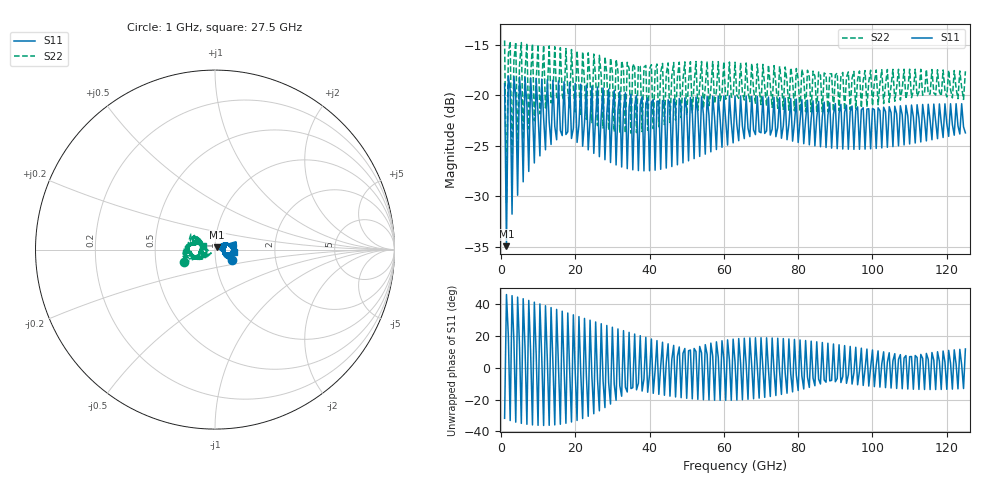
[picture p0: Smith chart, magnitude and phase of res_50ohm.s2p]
! Created with skrf 2.1.0 (http://scikit-rf.org).
# GHz S RI R 50.0
!freq ReS11 ImS11 ReS21 ImS21 ReS12 ImS12 ReS22 ImS22
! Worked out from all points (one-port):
!   249 points, 1 GHz to 125 GHz, reference 50 ohm
!   lowest |S11| = -34.9 dB at 1.5 GHz (marker M1), VSWR 1.04, Z = 51.2 + j1.32 ohm
!   |S11| at or under -10 dB: start of sweep to end of sweep
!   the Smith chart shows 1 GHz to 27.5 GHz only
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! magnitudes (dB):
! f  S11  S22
! 1 GHz  -18.8  -14.6
! 1.5 GHz  -34.9  -30.6
! 2 GHz  -18.1  -15.9
! 2.5 GHz  -19.5  -14.7
! 3 GHz  -31.8  -27.5
! 3.5 GHz  -18.2  -16.6
! 4.5 GHz  -29.9  -25.6
! 5 GHz  -18.2  -17.1
! 6 GHz  -28.6  -24.3
! 6.5 GHz  -18.2  -17.6
! 7.5 GHz  -27.5  -23.3
! 8 GHz  -18.3  -18.1
! 9 GHz  -26.7  -22.5
! 9.5 GHz  -18.3  -18.6
! 10.5 GHz  -26.0  -21.8
! 11 GHz  -18.4  -19.0
! 22 GHz  -25.0  -15.7
! 42.5 GHz  -20.6  -23.1
! 63 GHz  -20.1  -16.7
! 84 GHz  -20.5  -17.6
! 104.5 GHz  -21.1  -20.7
! 125 GHz  -23.7  -17.6
